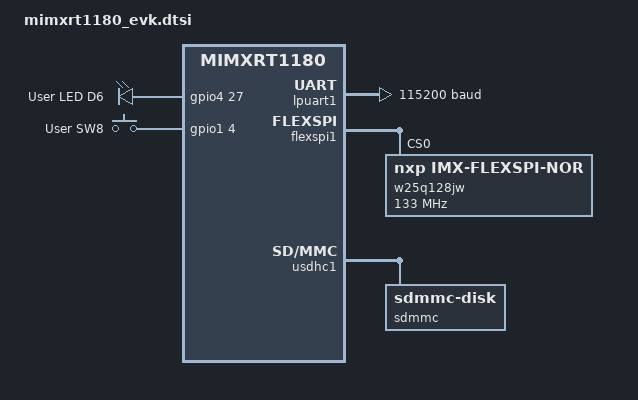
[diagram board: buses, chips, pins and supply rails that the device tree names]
/*
 * Copyright 2024 NXP
 *
 * SPDX-License-Identifier: Apache-2.0
 */

#include "mimxrt1180_evk-pinctrl.dtsi"
#include <zephyr/dt-bindings/input/input-event-codes.h>

/ {
	aliases {
		led0 = &green_led;
		sw0 = &user_button;
		sdhc0 = &usdhc1;
	};

	leds {
		compatible = "gpio-leds";
		green_led: led-1 {
			gpios = <&gpio4 27 GPIO_ACTIVE_HIGH>;
			label = "User LED D6";
	    };
	};

	gpio_keys {
		compatible = "gpio-keys";
		user_button: button-1 {
			label = "User SW8";
			gpios = <&gpio1 4 (GPIO_PULL_UP | GPIO_ACTIVE_HIGH)>;
			zephyr,code = <INPUT_KEY_0>;
		};
	};
};

&lpuart1 {
	status = "okay";
	current-speed = <115200>;
	pinctrl-0 = <&pinmux_lpuart1>;
	pinctrl-1 = <&pinmux_lpuart1_sleep>;
	pinctrl-names = "default", "sleep";
};

&user_button {
	status = "okay";
};

&green_led {
	status = "okay";
};

&gpio1 {
	status = "okay";
};

&gpio4 {
	status = "okay";
};

&flexspi1 {
	status = "okay";
	ahb-prefetch;
	ahb-read-addr-opt;
	rx-clock-source = <1>;
	w25q128jw: w25q128jw@0 {
		compatible = "nxp,imx-flexspi-nor";
		size = <134217728>;
		reg = <0>;
		spi-max-frequency = <133000000>;
		status = "okay";
		jedec-id = [ef 80 18];
		erase-block-size = <4096>;
		write-block-size = <1>;
	};
};

&lpi2c2 {
	pinctrl-0 = <&pinmux_lpi2c2>;
	pinctrl-names = "default";
};

&lpi2c3 {
	pinctrl-0 = <&pinmux_lpi2c3>;
	pinctrl-names = "default";
};

&usdhc1 {
	detect-dat3;
	pwr-gpios = <&gpio4 14 GPIO_ACTIVE_LOW>;
	pinctrl-0 = <&pinmux_usdhc1>;
	pinctrl-1 = <&pinmux_usdhc1_dat3_nopull>;
	pinctrl-names = "default", "nopull";
	sdmmc {
		compatible = "zephyr,sdmmc-disk";
		status = "okay";
	};
};
